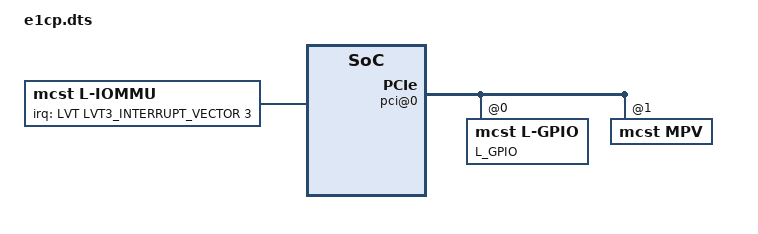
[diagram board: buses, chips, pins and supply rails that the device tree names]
/*
 * SPDX-License-Identifier: GPL-2.0
 * Copyright (c) 2023 MCST
 */

/dts-v1/;
/plugin/;

#include <dt-bindings/interrupt-controller/irq.h>
#include "include/apic-vectors.h"

#ifndef CELLS
#define CELLS 1
#endif


#if CELLS == 1
# define REG reg32
#else
# define REG reg
#endif

#ifndef PIC
# define __PIC(_n) pic ## _n
# define _PIC(_n) __PIC(_n)
# define PIC _PIC(NODE)
#endif

#ifndef LVT
# define __LVT(_n) lvt ## _n
# define _LVT(_n) __LVT(_n)
# define LVT _LVT(NODE)
#endif

# define __IOMMU(_n) iommu ## _n
# define _IOMMU(_n) __IOMMU(_n)
# define IOMMU _IOMMU(NODE)

#define __MSI(_n) msi ## _n
#define _MSI(_n) __MSI(_n)
#define MSI _MSI(NODE)


&{/} {
	#address-cells = <CELLS>;
	#size-cells = <CELLS>;

#define NODE 0
#include "include/e2k-v3.dtsi"
#include "include/e2k-v3-uncore.dtsi"

	PIC: pic@NODE {
		compatible = "mcst,ioapic";
		regbar-and-size64 = /bits/ 64 <0xff10111040 20>;
		interrupt-parent = <&lpic>;
		interrupt-controller;
		numa-node-id = <NODE>;
		#interrupt-cells = <2>;
	};
	MSI: MSI {
		compatible = "mcst,l-msi";
		interrupt-parent = <&lpic>;
		msi-controller;
		numa-node-id = <NODE>;
	};
	pic1: pic1 {
		compatible = "mcst,ioapic";
		regbar-and-size64 = /bits/ 64 <0xff100f8058 20>;
		interrupt-parent = <&lpic>;
		interrupt-controller;
		numa-node-id = <NODE>;
		#interrupt-cells = <2>;
	};
	IOMMU: iommu@NODE {
		compatible = "mcst,l-iommu";
		/* reg = <0x1 0x10000380 0 0x80>; not used */
		#iommu-cells = <1>;
		numa-node-id = <NODE>;
		interrupt-parent = <&LVT>;
		interrupts = <LVT3_INTERRUPT_VECTOR 3 0>;
	};
	pci@0 {
		compatible = "mcst,l-pci";
		REG = <0xff 0x10000000 0 0x10000000>,
			<0xff 0x100f8044 0 4>, /*HB_PCI_TOM*/
			<0xff 0x100f8048 0 8>, /*HB_PCI_TOM2*/
			<0xff 0x100f8050 0 8>; /*HB_PCI_REMAPBASE*/
		reg-names = "cfg", "mem";

		linux,pci-domain = <NODE>;
		numa-node-id = <NODE>;
		msi-parent = <&MSI>;
		linux,pci-probe-only = <1>;

		/* devices of bus 0 has no iommu */
		/*rid-base,iommu,iommu-base,length*/
		iommu-map = <0 &IOMMU 0 1> /* tranclate 00:00.0 device */,
				/*tranclate 01:xx.x - ff:xx.x devices */
				<0x100 &IOMMU 0x100 0xff00>;

		/* 1:1 translation, max size (48-bit) of e2k address space */
		ranges = <  0 0 0 /* child address */
#if CELLS == 1
			      0 /* parent address */
#elif CELLS == 2
			      0 0 /* parent address */
#else
# error CELLS not supported
#endif
			0x10000 0>;/* child size */
		interrupt-parent = <&PIC>;
		interrupts = <22 IRQ_TYPE_LEVEL_HIGH>; /*SERR (all devices)*/

		#address-cells = <3>;
		#size-cells = <2>;

		/* reg: 00000000 00000000 dddddfff 00000000 */
		pci@0,0 {
			reg = <0x00000000 0 0 0 0>;
			ranges;
			#address-cells = <3>;
			#size-cells = <2>;

			interrupts =	<16 IRQ_TYPE_LEVEL_HIGH>, /*PCI IRQ A*/
					<17 IRQ_TYPE_LEVEL_HIGH>, /*PCI IRQ B*/
					<18 IRQ_TYPE_LEVEL_HIGH>, /*PCI IRQ C*/
					<19 IRQ_TYPE_LEVEL_HIGH>; /*PCI IRQ D*/

			/* pci@0,0 PCI-to-PCI Bridge */

			pci@1,0 { /*Ethernet controller*/
				reg = <0x00000800 0 0 0 0>;
				interrupts = <4 IRQ_TYPE_LEVEL_HIGH>;
			};
			pci@1,1 { /*Ethernet controller*/
				reg = <0x00000900 0 0 0 0>;
				interrupts = <10 IRQ_TYPE_LEVEL_HIGH>;
			};
			pci@1,2 { /*Ethernet controller*/
				reg = <0x00000a00 0 0 0 0>;
				interrupts = <14 IRQ_TYPE_LEVEL_HIGH>;
			};
			pci@2,0 { /*IDE controller*/
				reg = <0x00001000 0 0 0 0>;
				interrupts = <11 IRQ_TYPE_LEVEL_HIGH>;
			};
			pci@2,1 { /*i2c-spi*/
				reg = <0x000001100 0 0 0 0>;
				interrupts =	<15 IRQ_TYPE_LEVEL_HIGH>, /*I2C-SPI*/
						< 8 IRQ_TYPE_LEVEL_HIGH>; /* WD Timer*/
			};
			pci@2,2 { /*Serial and Parallel ports*/
				reg = <0x00001200 0 0 0 0>;
				interrupts =	<3 IRQ_TYPE_LEVEL_HIGH>,/*Serial Port*/
						<7 IRQ_TYPE_LEVEL_HIGH>;/*Parallel Port*/
			};
			pci@2,3 { /*Audio controller*/
				reg = <0x00001300 0 0 0 0>;
				interrupts = <5 IRQ_TYPE_LEVEL_HIGH>;
			};
			pci@2,4 { /*GPIO-MPV controller*/
				reg = <0x00001400 0 0 0 0>;
				#address-cells = <2>;
				#size-cells = <1>;
				/* ranges will added in gpio-mpv driver */
				L_GPIO: gpio@0 {
					compatible = "mcst,l-gpio";
					reg = <0 /*bar 0*/ 0 32>;
					interrupts =	<7 IRQ_TYPE_LEVEL_HIGH>, /*GPIO0*/
 						<11 IRQ_TYPE_LEVEL_HIGH>; /*GPIO1*/
					interrupt-names = "gpio0", "gpio1";
					ngpios = <32>;
				};
				mpv@0 {
					reg = <1 /*bar 1*/ 0 128>;
					compatible = "mcst,mpv";
					interrupts =    < 6 IRQ_TYPE_LEVEL_HIGH>, /*Mpv_timers0*/
 						<9 IRQ_TYPE_LEVEL_HIGH>; /*Mpv_timers12*/
					interrupt-names = "mpv0", "mpv1", "mpv2";
				};
			};
			pci@3,0 { /*SATA controller*/
				reg = <0x00001800 0 0 0 0>;
				interrupt-parent = <&PIC>;
				interrupts = <20 IRQ_TYPE_LEVEL_HIGH>;
			};
			pci@3,1 { /*SATA controller*/
				reg = <0x00001900 0 0 0 0>;
				interrupt-parent = <&PIC>;
				interrupts = <21 IRQ_TYPE_LEVEL_HIGH>;
			};
			pci@a,0 { /*USB Controller (ohci)*/
				reg = <0x00005000 0 0 0 0>;
				interrupts = <12 IRQ_TYPE_LEVEL_HIGH>;
			};
			pci@a,1 { /*USB Controller (ehci)*/
				reg = <0x00005100 0 0 0 0>;
				interrupts = <12 IRQ_TYPE_LEVEL_HIGH>;
			};
			pci@b,0 { /*USB Controller (ohci)*/
				reg = <0x00005800 0 0 0 0>;
				interrupts = <13 IRQ_TYPE_LEVEL_HIGH>;
			};
			pci@b,1 { /*USB Controller (ehci)*/
				reg = <0x00005900 0 0 0 0>;
				interrupts = <13 IRQ_TYPE_LEVEL_HIGH>;
			};
			pci@c,0 { /*SPMC System Power Managment Controller*/
				reg = <0x00006000 0 0 0 0>;
				interrupts = <1 IRQ_TYPE_LEVEL_HIGH>;
			};
		};

		mga2@0,f0 {  /* 1e.0 MGA2 graphic controller */
			reg = <0x0000f000 0 0 0 0>;
			interrupt-parent = <&pic1>;
			interrupts =	<0 IRQ_TYPE_LEVEL_HIGH>, /*3D GC2500*/
					<1 IRQ_TYPE_LEVEL_HIGH>; /*2D MGA2*/
		};
		pci@1f,0 { /*Host Bridge*/
			reg = <0x0000f800 0 0 0 0>;
			interrupt-parent = <&pic1>;
			interrupts =	<2 IRQ_TYPE_LEVEL_HIGH>, /*PMC*/
					<3 IRQ_TYPE_LEVEL_HIGH>, /*integrated i2c*/
					<4 IRQ_TYPE_LEVEL_HIGH>, /*IOMMU*/
					<5 IRQ_TYPE_LEVEL_HIGH>, /*WLCC*/
					<6 IRQ_TYPE_LEVEL_HIGH>; /*SIC*/

		};
	};
};
